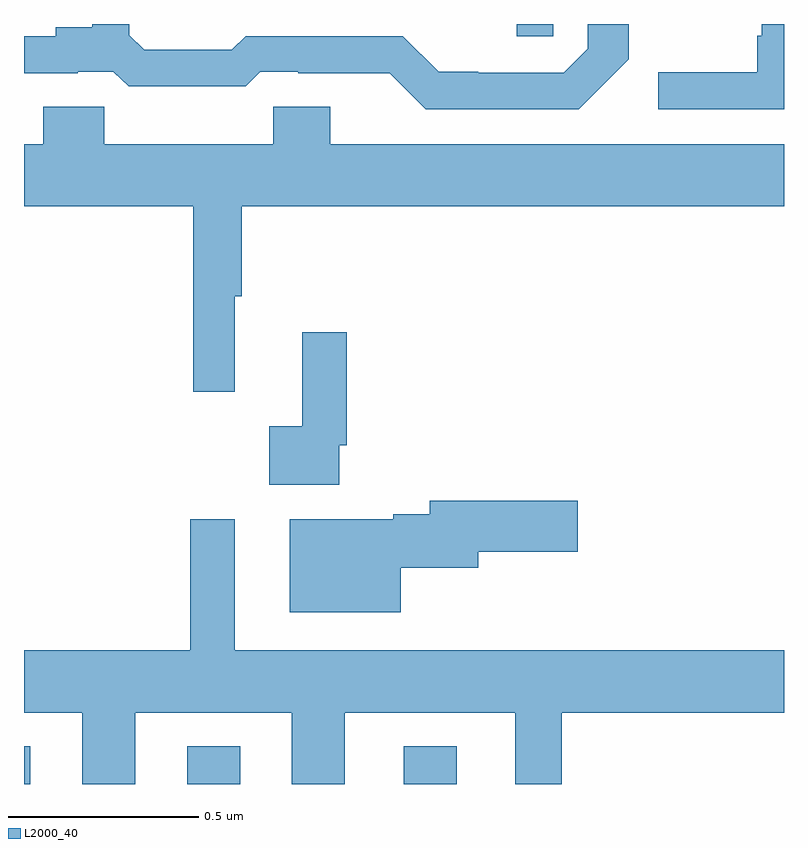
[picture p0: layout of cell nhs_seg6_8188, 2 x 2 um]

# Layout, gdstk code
import gdstk
lib = gdstk.Library(unit=1e-6, precision=1e-09)
def R(c, l, rs):  # rectangles x0, y0, x1, y1
    for r in rs: c.add(gdstk.rectangle(r[:2], r[2:], *l))
def P(c, l, *ps):  # polygons
    for p in ps: c.add(gdstk.Polygon(p, *l))
L2000_40 = (2000, 40)

nhs_seg6_8188 = lib.new_cell('nhs_seg6_8188')
R(nhs_seg6_8188, L2000_40, [(218,928.5,218.017,928.6), (218.429,928.5,218.569,928.6), (218.999,928.5,219.139,928.6), (219.297,930.468,219.393,930.5)])
P(nhs_seg6_8188, L2000_40, [(220,930.5),(219.942,930.5),(219.942,930.469),(219.93,930.469),(219.93,930.373),(219.669,930.373),(219.669,930.276),(220,930.276)],
  [(219.591,930.407),(219.591,930.5),(219.483,930.5),(219.483,930.435),(219.42,930.372),(219.196,930.372),(219.196,930.374),(219.092,930.374),(218.997,930.468),(218.583,930.468),(218.547,930.432),(218.316,930.432),(218.277,930.471),(218.277,930.5),(218.18,930.5),(218.18,930.491),(218.084,930.491),(218.084,930.468),(218,930.468),(218,930.371),(218.141,930.371),(218.141,930.375),(218.235,930.375),(218.275,930.336),(218.583,930.336),(218.622,930.375),(218.722,930.375),(218.722,930.371),(218.963,930.371),(219.057,930.276),(219.46,930.276)],
  [(218.555,929.784),(218.573,929.784),(218.573,930.02),(220,930.02),(220,930.184),(218.806,930.184),(218.806,930.282),(218.656,930.282),(218.656,930.184),(218.211,930.184),(218.211,930.282),(218.051,930.282),(218.051,930.184),(218,930.184),(218,930.02),(218.445,930.02),(218.445,929.532),(218.555,929.532)],
  [(218.829,929.392),(218.849,929.392),(218.849,929.689),(218.732,929.689),(218.732,929.441),(218.646,929.441),(218.646,929.288),(218.829,929.288)],
  [(218.992,929.069),(219.196,929.069),(219.196,929.111),(219.457,929.111),(219.457,929.246),(219.068,929.246),(219.068,929.21),(218.972,929.21),(218.972,929.197),(218.699,929.197),(218.699,928.952),(218.992,928.952)],
  [(218.293,928.688),(218.705,928.688),(218.705,928.5),(218.844,928.5),(218.844,928.688),(219.293,928.688),(219.293,928.5),(219.415,928.5),(219.415,928.688),(220,928.688),(220,928.852),(218.554,928.852),(218.554,929.197),(218.437,929.197),(218.437,928.852),(218,928.852),(218,928.688),(218.153,928.688),(218.153,928.5),(218.293,928.5)])

lib.write_gds('nhs_seg6_8188.gds')
